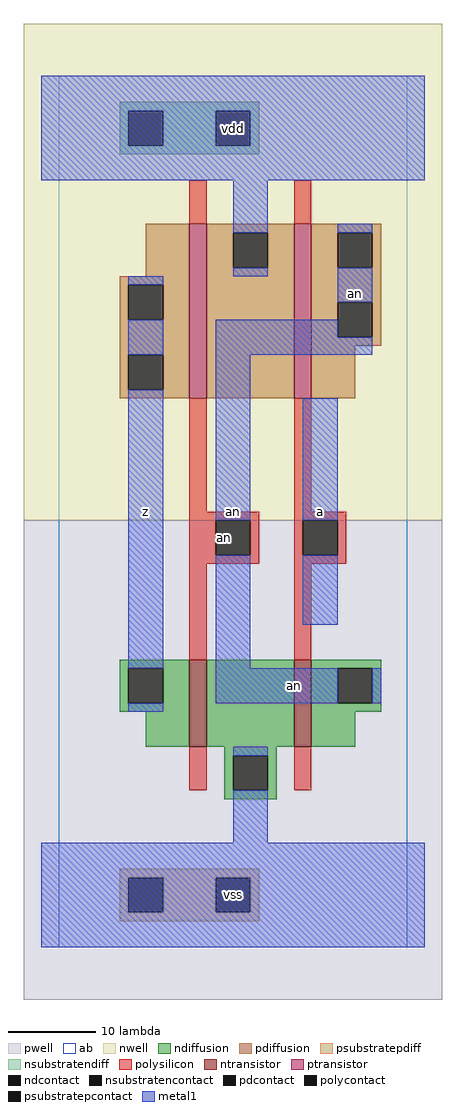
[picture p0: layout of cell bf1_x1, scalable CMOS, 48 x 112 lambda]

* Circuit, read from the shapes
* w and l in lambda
.subckt bf1_x1 a an vdd vss z
M1 vss an z vss nfet w=10 l=2
M2 an a vss vss nfet w=10 l=2
M3 vdd an z vdd pfet w=20 l=2
M4 an a vdd vdd pfet w=20 l=2
.ends

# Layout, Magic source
magic
tech scmos
<< ab >>
rect 0 0 40 100
<< pwell >>
rect -4 -6 44 49
<< nwell >>
rect -4 49 44 106
<< polysilicon >>
rect 15 83 17 88
rect 27 83 29 88
rect 15 50 17 63
rect 27 50 29 63
rect 15 49 23 50
rect 15 45 18 49
rect 22 45 23 49
rect 15 44 23 45
rect 27 49 33 50
rect 27 45 28 49
rect 32 45 33 49
rect 27 44 33 45
rect 15 33 17 44
rect 27 33 29 44
rect 15 18 17 23
rect 27 18 29 23
<< ndiffusion >>
rect 7 32 15 33
rect 7 28 8 32
rect 12 28 15 32
rect 7 27 15 28
rect 10 23 15 27
rect 17 23 27 33
rect 29 32 37 33
rect 29 28 32 32
rect 36 28 37 32
rect 29 27 37 28
rect 29 23 34 27
rect 19 22 25 23
rect 19 18 20 22
rect 24 18 25 22
rect 19 17 25 18
<< pdiffusion >>
rect 10 77 15 83
rect 7 76 15 77
rect 7 72 8 76
rect 12 72 15 76
rect 7 68 15 72
rect 7 64 8 68
rect 12 64 15 68
rect 7 63 15 64
rect 17 82 27 83
rect 17 78 20 82
rect 24 78 27 82
rect 17 63 27 78
rect 29 82 37 83
rect 29 78 32 82
rect 36 78 37 82
rect 29 74 37 78
rect 29 70 32 74
rect 36 70 37 74
rect 29 69 37 70
rect 29 63 34 69
<< metal1 >>
rect -2 88 42 100
rect 20 82 24 88
rect 20 77 24 78
rect 32 82 36 83
rect 8 76 12 77
rect 32 74 36 78
rect 8 68 12 72
rect 8 32 12 64
rect 18 70 32 72
rect 18 68 36 70
rect 18 49 22 68
rect 18 32 22 45
rect 28 49 32 63
rect 28 37 32 45
rect 18 28 32 32
rect 36 28 37 32
rect 8 27 12 28
rect 20 22 24 23
rect 20 12 24 18
rect -2 0 42 12
<< ntransistor >>
rect 15 23 17 33
rect 27 23 29 33
<< ptransistor >>
rect 15 63 17 83
rect 27 63 29 83
<< polycontact >>
rect 18 45 22 49
rect 28 45 32 49
<< ndcontact >>
rect 8 28 12 32
rect 32 28 36 32
rect 20 18 24 22
<< pdcontact >>
rect 8 72 12 76
rect 8 64 12 68
rect 20 78 24 82
rect 32 78 36 82
rect 32 70 36 74
<< psubstratepcontact >>
rect 8 4 12 8
rect 18 4 22 8
<< nsubstratencontact >>
rect 8 92 12 96
rect 18 92 22 96
<< psubstratepdiff >>
rect 7 8 23 9
rect 7 4 8 8
rect 12 4 18 8
rect 22 4 23 8
rect 7 3 23 4
<< nsubstratendiff >>
rect 7 96 23 97
rect 7 92 8 96
rect 12 92 18 96
rect 22 92 23 96
rect 7 91 23 92
<< labels >>
rlabel polycontact 19 47 19 47 6 an
rlabel metal1 10 50 10 50 6 z
rlabel metal1 10 50 10 50 6 z
rlabel metal1 20 6 20 6 6 vss
rlabel metal1 20 6 20 6 6 vss
rlabel metal1 20 50 20 50 6 an
rlabel metal1 20 94 20 94 6 vdd
rlabel metal1 20 94 20 94 6 vdd
rlabel metal1 27 30 27 30 6 an
rlabel metal1 30 50 30 50 6 a
rlabel metal1 30 50 30 50 6 a
rlabel metal1 34 75 34 75 6 an
<< end >>
